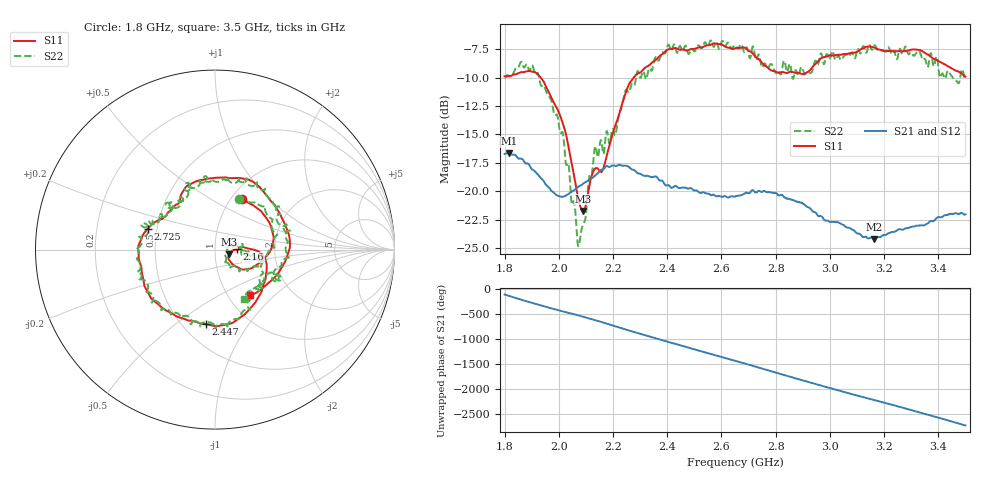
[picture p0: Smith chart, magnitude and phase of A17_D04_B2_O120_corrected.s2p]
! Created with skrf 1.9.0 (http://scikit-rf.org).
# Hz S RI R 50.0
!freq ReS11 ImS11 ReS21 ImS21 ReS12 ImS12 ReS22 ImS22
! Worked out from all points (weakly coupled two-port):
!   1601 points, 1.8 GHz to 3.5 GHz, reference 50 ohm
!   highest |S21| = -16.65 dB at 1.817 GHz (marker M1); lowest = -24.2 dB at 3.163 GHz (marker M2)
!   lowest |S11| = -21.7 dB at 2.09 GHz (marker M3), VSWR 1.18, Z = 58.3 - j3.2 ohm
!   |S11| at or under -10 dB: 1.933 GHz to 2.277 GHz (343.8 MHz wide, 16.3 % of centre)
!   |S22| runs from -24.8 to -6.7 dB; largest |S21 - S12| = 0.0024
!   S11 on the Smith chart (normalised r, x): 1.8 GHz: 1.12, +0.71; 2.16 GHz: 1.28, +0.01; 2.447 GHz: 0.65, -0.65; 2.725 GHz: 0.45, +0.12; 3.5 GHz: 1.26, -0.71
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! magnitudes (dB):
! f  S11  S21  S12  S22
! 1.8 GHz  -9.9  -16.7  -16.7  -10.0
! 1.817 GHz  -9.9  -16.6  -16.7  -9.9
! 1.902 GHz  -9.5  -18.1  -18.0  -8.9
! 1.968 GHz  -11.5  -19.8  -19.8  -11.8
! 2.015 GHz  -14.0  -20.5  -20.5  -14.9
! 2.071 GHz  -20.6  -19.6  -19.6  -24.8
! 2.084 GHz  -21.6  -19.5  -19.4  -23.4
! 2.09 GHz  -21.7  -19.3  -19.4  -22.9
! 2.131 GHz  -18.1  -18.7  -18.7  -16.3
! 2.16 GHz  -18.2  -18.1  -18.0  -16.1
! 2.209 GHz  -14.2  -17.8  -17.7  -15.0
! 2.259 GHz  -10.6  -17.9  -17.9  -11.3
! 2.367 GHz  -8.2  -19.0  -18.9  -8.5
! 2.447 GHz  -7.6  -19.7  -19.7  -7.2
! 2.65 GHz  -7.4  -20.5  -20.4  -7.2
! 2.725 GHz  -8.2  -20.1  -20.1  -8.3
! 2.809 GHz  -9.6  -20.3  -20.2  -9.4
! 2.934 GHz  -9.2  -21.7  -21.7  -9.5
! 3.163 GHz  -7.4  -24.2  -24.2  -7.2
! 3.217 GHz  -7.7  -23.7  -23.7  -7.4
! 3.332 GHz  -7.6  -23.0  -23.0  -7.8
! 3.5 GHz  -9.9  -22.0  -22.0  -10.0
